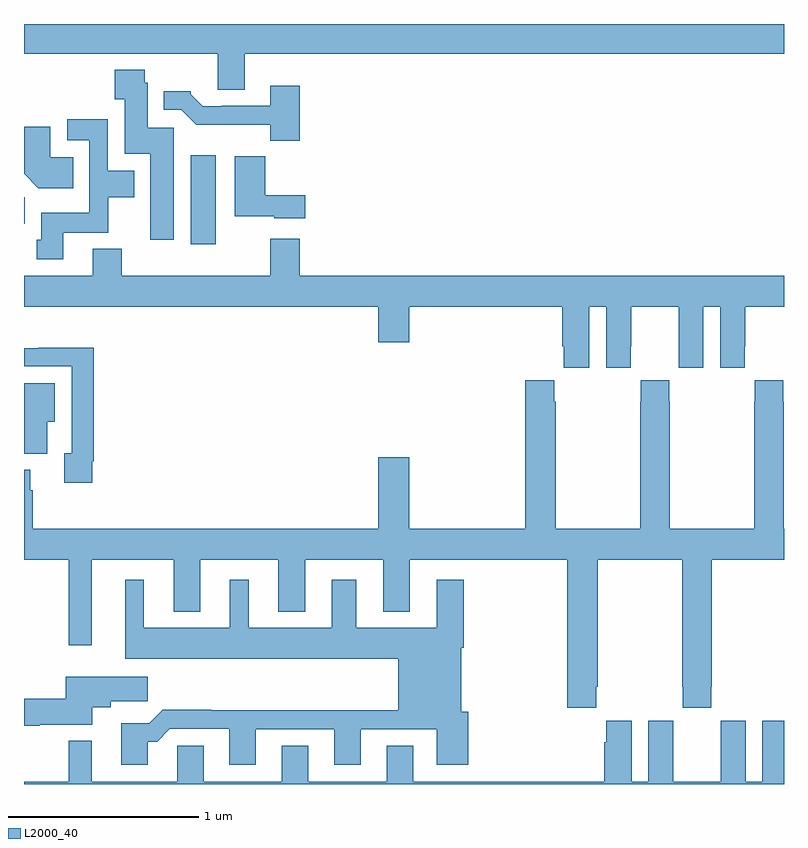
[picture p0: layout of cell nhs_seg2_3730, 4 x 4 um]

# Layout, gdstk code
import gdstk
lib = gdstk.Library(unit=1e-6, precision=1e-09)
def R(c, l, rs):  # rectangles x0, y0, x1, y1
    for r in rs: c.add(gdstk.rectangle(r[:2], r[2:], *l))
def P(c, l, *ps):  # polygons
    for p in ps: c.add(gdstk.Polygon(p, *l))
L2000_40 = (2000, 40)

nhs_seg2_3730 = lib.new_cell('nhs_seg2_3730')
R(nhs_seg2_3730, L2000_40, [(307.877,638.64,308.008,639.109), (307,638.75,307.003,638.888)])
P(nhs_seg2_3730, L2000_40, [(311,639.8),(307,639.8),(307,639.644),(308.021,639.644),(308.021,639.454),(308.161,639.454),(308.161,639.644),(311,639.644)],
  [(307.789,639.255),(307.651,639.255),(307.651,639.492),(307.635,639.492),(307.635,639.559),(307.478,639.559),(307.478,639.403),(307.529,639.403),(307.529,639.116),(307.664,639.116),(307.664,638.664),(307.789,638.664)],
  [(308.45,639.475),(308.297,639.475),(308.297,639.369),(308.041,639.369),(308.041,639.366),(307.942,639.366),(307.878,639.43),(307.878,639.445),(307.736,639.445),(307.736,639.348),(307.827,639.348),(307.906,639.27),(308.295,639.27),(308.295,639.185),(308.45,639.185)],
  [(307.207,638.702),(307.443,638.702),(307.443,638.888),(307.579,638.888),(307.579,639.028),(307.44,639.028),(307.44,639.298),(307.227,639.298),(307.227,639.189),(307.344,639.189),(307.344,638.806),(307.091,638.806),(307.091,638.664),(307.067,638.664),(307.067,638.562),(307.207,638.562)],
  [(307.259,639.1),(307.138,639.1),(307.138,639.258),(307.002,639.258),(307.002,639.228),(307,639.228),(307,639.012),(307.076,638.936),(307.259,638.936)],
  [(308.479,638.899),(308.27,638.899),(308.27,639.103),(308.108,639.103),(308.108,638.789),(308.316,638.789),(308.316,638.777),(308.479,638.777)],
  [(308.45,638.671),(308.297,638.671),(308.297,638.476),(307.514,638.476),(307.514,638.617),(307.361,638.617),(307.361,638.476),(307,638.476),(307,638.312),(308.864,638.312),(308.864,638.124),(309.028,638.124),(309.028,638.312),(309.833,638.312),(309.833,638.104),(309.842,638.104),(309.842,637.992),(309.976,637.992),(309.976,638.312),(310.064,638.312),(310.064,637.992),(310.194,637.992),(310.194,638.104),(310.195,638.104),(310.195,638.312),(310.445,638.312),(310.445,638.104),(310.446,638.104),(310.446,637.992),(310.576,637.992),(310.576,638.312),(310.664,638.312),(310.664,637.992),(310.794,637.992),(310.794,638.104),(310.795,638.104),(310.795,638.312),(311,638.312),(311,638.476),(308.45,638.476)],
  [(307.36,637.498),(307.367,637.498),(307.367,638.096),(307.075,638.096),(307.075,638.094),(307,638.094),(307,637.998),(307.251,637.998),(307.251,637.542),(307.211,637.542),(307.211,637.386),(307.36,637.386)],
  [(310.013,636.313),(310.02,636.313),(310.02,636.98),(310.465,636.98),(310.465,636.313),(310.467,636.313),(310.467,636.201),(310.617,636.201),(310.617,636.313),(310.62,636.313),(310.62,636.98),(311,636.98),(311,637.144),(310.998,637.144),(310.998,637.811),(310.995,637.811),(310.995,637.924),(310.845,637.924),(310.845,637.811),(310.843,637.811),(310.843,637.144),(310.398,637.144),(310.398,637.811),(310.395,637.811),(310.395,637.924),(310.245,637.924),(310.245,637.811),(310.243,637.811),(310.243,637.144),(309.798,637.144),(309.798,637.811),(309.791,637.811),(309.791,637.924),(309.638,637.924),(309.638,637.144),(309.028,637.144),(309.028,637.519),(308.864,637.519),(308.864,637.144),(307.046,637.144),(307.046,637.346),(307.033,637.346),(307.033,637.453),(307,637.453),(307,636.98),(307.236,636.98),(307.236,636.531),(307.357,636.531),(307.357,636.98),(307.787,636.98),(307.787,636.707),(307.927,636.707),(307.927,636.98),(308.339,636.98),(308.339,636.707),(308.479,636.707),(308.479,636.98),(308.891,636.98),(308.891,636.707),(309.031,636.707),(309.031,636.98),(309.86,636.98),(309.86,636.201),(310.013,636.201)],
  [(307.123,637.706),(307.162,637.706),(307.162,637.909),(307,637.909),(307,637.538),(307.123,637.538)],
  [(307.651,636.023),(307.7,636.023),(307.767,636.09),(308.081,636.09),(308.081,635.901),(308.221,635.901),(308.221,636.087),(308.633,636.087),(308.633,635.901),(308.773,635.901),(308.773,636.087),(309.173,636.087),(309.173,635.901),(309.338,635.901),(309.338,636.18),(309.301,636.18),(309.301,636.518),(309.314,636.518),(309.314,636.874),(309.173,636.874),(309.173,636.622),(308.749,636.622),(308.749,636.874),(308.621,636.874),(308.621,636.622),(308.182,636.622),(308.182,636.874),(308.084,636.874),(308.084,636.622),(307.63,636.622),(307.63,636.874),(307.532,636.874),(307.532,636.458),(308.969,636.458),(308.969,636.188),(307.985,636.188),(307.985,636.191),(307.73,636.191),(307.66,636.121),(307.511,636.121),(307.511,635.901),(307.651,635.901)],
  [(307.084,636.113),(307.36,636.113),(307.36,636.203),(307.456,636.203),(307.456,636.235),(307.651,636.235),(307.651,636.364),(307.22,636.364),(307.22,636.248),(307,636.248),(307,636.106),(307.084,636.106)],
  [(311,636.133),(310.886,636.133),(310.886,635.812),(310.798,635.812),(310.798,636.133),(310.668,636.133),(310.668,636.02),(310.667,636.02),(310.667,635.812),(310.417,635.812),(310.417,636.02),(310.416,636.02),(310.416,636.133),(310.286,636.133),(310.286,635.812),(310.198,635.812),(310.198,636.133),(310.064,636.133),(310.064,636.02),(310.055,636.02),(310.055,635.812),(309.049,635.812),(309.049,636.002),(308.909,636.002),(308.909,635.812),(308.497,635.812),(308.497,636.002),(308.357,636.002),(308.357,635.812),(307.945,635.812),(307.945,636.002),(307.806,636.002),(307.806,635.812),(307.357,635.812),(307.357,636.028),(307.236,636.028),(307.236,635.812),(307,635.812),(307,635.8),(311,635.8)])

lib.write_gds('nhs_seg2_3730.gds')
